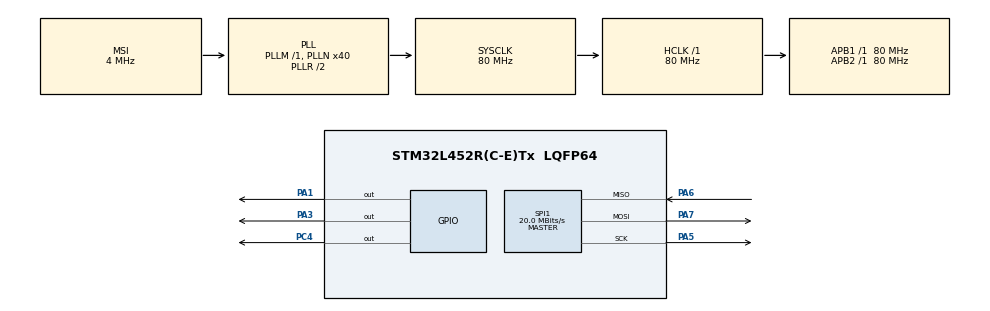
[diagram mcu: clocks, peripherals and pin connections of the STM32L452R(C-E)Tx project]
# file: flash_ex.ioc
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Mcu.Family=STM32L4
Mcu.Name=STM32L452R(C-E)Tx
Mcu.Package=LQFP64
NVIC.PriorityGroup=NVIC_PRIORITYGROUP_4
NVIC.SPI1_IRQn=true\:0\:0\:false\:false\:true\:true\:true
PA1.Signal=GPIO_Output
PA13\ (JTMS/SWDIO).Mode=Serial_Wire
PA13\ (JTMS/SWDIO).Signal=SYS_JTMS-SWDIO
PA14\ (JTCK/SWCLK).Mode=Serial_Wire
PA14\ (JTCK/SWCLK).Signal=SYS_JTCK-SWCLK
PA3.PinState=GPIO_PIN_SET
PA3.Signal=GPIO_Output
PA5.Mode=Full_Duplex_Master
PA5.Signal=SPI1_SCK
PA6.Mode=Full_Duplex_Master
PA6.Signal=SPI1_MISO
PA7.Mode=Full_Duplex_Master
PA7.Signal=SPI1_MOSI
PC4.PinState=GPIO_PIN_SET
PC4.Signal=GPIO_Output
ProjectManager.HeapSize=0x200
ProjectManager.StackSize=0x400
ProjectManager.TargetToolchain=STM32CubeIDE
RCC.ADCFreq_Value=16000000
RCC.AHBFreq_Value=80000000
RCC.APB1Freq_Value=80000000
RCC.APB1TimFreq_Value=80000000
RCC.APB2Freq_Value=80000000
RCC.APB2TimFreq_Value=80000000
RCC.CortexFreq_Value=80000000
RCC.HCLKFreq_Value=80000000
RCC.HSE_VALUE=8000000
RCC.HSI48_VALUE=48000000
RCC.HSI_VALUE=16000000
RCC.LSE_VALUE=32768
RCC.MSI_VALUE=4000000
RCC.PLLN=40
RCC.SYSCLKFreq_VALUE=80000000
RCC.SYSCLKSource=RCC_SYSCLKSOURCE_PLLCLK
RCC.USBFreq_Value=16000000
RCC.VCOOutputFreq_Value=160000000
SPI1.BaudRatePrescaler=SPI_BAUDRATEPRESCALER_4
SPI1.CalculateBaudRate=20.0 MBits/s
SPI1.DataSize=SPI_DATASIZE_8BIT
SPI1.Direction=SPI_DIRECTION_2LINES
SPI1.Mode=SPI_MODE_MASTER
SPI1.VirtualType=VM_MASTER
board=custom

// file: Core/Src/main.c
/* USER CODE BEGIN Header */
/**
  ******************************************************************************
  * @file           : main.c
  * @brief          : Main program body
  ******************************************************************************
  * @attention
  *
  * <h2><center>&copy; Copyright (c) 2021 STMicroelectronics.
  * All rights reserved.</center></h2>
  *
  * This software component is licensed by ST under BSD 3-Clause license,
  * the "License"; You may not use this file except in compliance with the
  * License. You may obtain a copy of the License at:
  *                        opensource.org/licenses/BSD-3-Clause
  *
  ******************************************************************************
  */
/* USER CODE END Header */
#include "main.h"

/* USER CODE BEGIN Includes */
#include "EN25QH.h"
/* USER CODE END Includes */

/* USER CODE BEGIN PTD */
typedef enum {
	FAILED = 0,
	PASSED = !FAILED
} TestStatus;
/* USER CODE END PTD */

/* USER CODE BEGIN PD */
#define  FLASH_WRITE_ADDRESS      0x800001
#define  FLASH_READ_ADDRESS       FLASH_WRITE_ADDRESS
#define  FLASH_SECTOR_TO_ERASE    FLASH_WRITE_ADDRESS

#define  BufferSize (countof(Tx_Buffer)-1)
/* USER CODE END PD */

/* USER CODE BEGIN PM */
#define countof(a) (sizeof(a) / sizeof(*(a)))
/* USER CODE END PM */

SPI_HandleTypeDef hspi1;

/* USER CODE BEGIN PV */
uint8_t Tx_Buffer[] = {0x01, 0x02, 0x03, 0x04, 0x05, 0x06, 0x07};
uint8_t  Rx_Buffer[BufferSize];
uint8_t Index = 0x0;
volatile TestStatus TransferStatus1 = FAILED, TransferStatus2 = PASSED;
uint32_t device_id = 0;
/* USER CODE END PV */

void SystemClock_Config(void);
static void MX_GPIO_Init(void);
static void MX_SPI1_Init(void);
/* USER CODE BEGIN PFP */
TestStatus Buffercmp(uint8_t* pBuffer1, uint8_t* pBuffer2, uint16_t BufferLength);
/* USER CODE END PFP */

int main(void)
{

  /* MCU Configuration--------------------------------------------------------*/

  /* Reset of all peripherals, Initializes the Flash interface and the Systick. */
  HAL_Init();

  /* Configure the system clock */
  SystemClock_Config();

  /* Initialize all configured peripherals */
  MX_GPIO_Init();
  MX_SPI1_Init();
  /* USER CODE BEGIN 2 */
  HAL_GPIO_WritePin(GPIOA, GPIO_PIN_1, GPIO_PIN_SET);

  device_id = Flash_EN25QH_Connect();
  /* Check the SPI Flash ID */
  if (device_id == FLASH_EN25QH_ID)
  {
    /* OK: Turn on */
	  HAL_GPIO_WritePin(GPIOA, GPIO_PIN_3, GPIO_PIN_RESET);

    /* Perform a write in the Flash followed by a read of the written data */
    /* Erase SPI FLASH Sector to write on */
	  Flash_EN25QH_EraseSector(FLASH_SECTOR_TO_ERASE);

    /* Write Tx_Buffer data to SPI FLASH memory */
	  Flash_EN25QH_WriteBuffer(Tx_Buffer, FLASH_WRITE_ADDRESS, BufferSize);

    /* Read data from SPI FLASH memory */
	  Flash_EN25QH_ReadBuffer(Rx_Buffer, FLASH_READ_ADDRESS, BufferSize);

    /* Check the correctness of written dada */
    TransferStatus1 = Buffercmp(Tx_Buffer, Rx_Buffer, BufferSize);
    /* TransferStatus1 = PASSED, if the transmitted and received data by SPI1
       are the same */
    /* TransferStatus1 = FAILED, if the transmitted and received data by SPI1
       are different */

    /* Perform an erase in the Flash followed by a read of the written data */
    /* Erase SPI FLASH Sector to write on */
    Flash_EN25QH_EraseSector(FLASH_SECTOR_TO_ERASE);

    /* Read data from SPI FLASH memory */
    Flash_EN25QH_ReadBuffer(Rx_Buffer, FLASH_READ_ADDRESS, BufferSize);

    /* Check the correctness of erasing operation dada */
    for (Index = 0; Index < BufferSize; Index++)
    {
      if (Rx_Buffer[Index] != 0xFF)
      {
        TransferStatus2 = FAILED;
      }
    }
    /* TransferStatus2 = PASSED, if the specified sector part is erased */
    /* TransferStatus2 = FAILED, if the specified sector part is not well erased */
  }

  /* USER CODE END 2 */

  /* Infinite loop */
  while (1)
  {

    /* USER CODE BEGIN 3 */

//	  HAL_GPIO_TogglePin(GPIOA, GPIO_PIN_3);
//	  HAL_Delay(1000);

  }
  /* USER CODE END 3 */
}

void SystemClock_Config(void)
{
  RCC_OscInitTypeDef RCC_OscInitStruct = {0};
  RCC_ClkInitTypeDef RCC_ClkInitStruct = {0};

  /** Initializes the RCC Oscillators according to the specified parameters
  * in the RCC_OscInitTypeDef structure.
  */
  RCC_OscInitStruct.OscillatorType = RCC_OSCILLATORTYPE_MSI;
  RCC_OscInitStruct.MSIState = RCC_MSI_ON;
  RCC_OscInitStruct.MSICalibrationValue = 0;
  RCC_OscInitStruct.MSIClockRange = RCC_MSIRANGE_6;
  RCC_OscInitStruct.PLL.PLLState = RCC_PLL_ON;
  RCC_OscInitStruct.PLL.PLLSource = RCC_PLLSOURCE_MSI;
  RCC_OscInitStruct.PLL.PLLM = 1;
  RCC_OscInitStruct.PLL.PLLN = 40;
  RCC_OscInitStruct.PLL.PLLP = RCC_PLLP_DIV7;
  RCC_OscInitStruct.PLL.PLLQ = RCC_PLLQ_DIV2;
  RCC_OscInitStruct.PLL.PLLR = RCC_PLLR_DIV2;
  if (HAL_RCC_OscConfig(&RCC_OscInitStruct) != HAL_OK)
  {
    Error_Handler();
  }
  /** Initializes the CPU, AHB and APB buses clocks
  */
  RCC_ClkInitStruct.ClockType = RCC_CLOCKTYPE_HCLK|RCC_CLOCKTYPE_SYSCLK
                              |RCC_CLOCKTYPE_PCLK1|RCC_CLOCKTYPE_PCLK2;
  RCC_ClkInitStruct.SYSCLKSource = RCC_SYSCLKSOURCE_PLLCLK;
  RCC_ClkInitStruct.AHBCLKDivider = RCC_SYSCLK_DIV1;
  RCC_ClkInitStruct.APB1CLKDivider = RCC_HCLK_DIV1;
  RCC_ClkInitStruct.APB2CLKDivider = RCC_HCLK_DIV1;

  if (HAL_RCC_ClockConfig(&RCC_ClkInitStruct, FLASH_LATENCY_4) != HAL_OK)
  {
    Error_Handler();
  }
  /** Configure the main internal regulator output voltage
  */
  if (HAL_PWREx_ControlVoltageScaling(PWR_REGULATOR_VOLTAGE_SCALE1) != HAL_OK)
  {
    Error_Handler();
  }
}

static void MX_SPI1_Init(void)
{

  /* SPI1 parameter configuration*/
  hspi1.Instance = SPI1;
  hspi1.Init.Mode = SPI_MODE_MASTER;
  hspi1.Init.Direction = SPI_DIRECTION_2LINES;
  hspi1.Init.DataSize = SPI_DATASIZE_8BIT;
  hspi1.Init.CLKPolarity = SPI_POLARITY_LOW;
  hspi1.Init.CLKPhase = SPI_PHASE_1EDGE;
  hspi1.Init.NSS = SPI_NSS_SOFT;
  hspi1.Init.BaudRatePrescaler = SPI_BAUDRATEPRESCALER_4;
  hspi1.Init.FirstBit = SPI_FIRSTBIT_MSB;
  hspi1.Init.TIMode = SPI_TIMODE_DISABLE;
  hspi1.Init.CRCCalculation = SPI_CRCCALCULATION_DISABLE;
  hspi1.Init.CRCPolynomial = 7;
  hspi1.Init.CRCLength = SPI_CRC_LENGTH_DATASIZE;
  hspi1.Init.NSSPMode = SPI_NSS_PULSE_ENABLE;
  if (HAL_SPI_Init(&hspi1) != HAL_OK)
  {
    Error_Handler();
  }

}

static void MX_GPIO_Init(void)
{
  GPIO_InitTypeDef GPIO_InitStruct = {0};

  /* GPIO Ports Clock Enable */
  __HAL_RCC_GPIOA_CLK_ENABLE();
  __HAL_RCC_GPIOC_CLK_ENABLE();

  /*Configure GPIO pin Output Level */
  HAL_GPIO_WritePin(GPIOA, GPIO_PIN_1, GPIO_PIN_RESET);

  /*Configure GPIO pin Output Level */
  HAL_GPIO_WritePin(GPIOA, GPIO_PIN_3, GPIO_PIN_SET);

  /*Configure GPIO pin Output Level */
  HAL_GPIO_WritePin(GPIOC, GPIO_PIN_4, GPIO_PIN_SET);

  /*Configure GPIO pins : PA1 PA3 */
  GPIO_InitStruct.Pin = GPIO_PIN_1|GPIO_PIN_3;
  GPIO_InitStruct.Mode = GPIO_MODE_OUTPUT_PP;
  GPIO_InitStruct.Pull = GPIO_NOPULL;
  GPIO_InitStruct.Speed = GPIO_SPEED_FREQ_LOW;
  HAL_GPIO_Init(GPIOA, &GPIO_InitStruct);

  /*Configure GPIO pin : PC4 */
  GPIO_InitStruct.Pin = GPIO_PIN_4;
  GPIO_InitStruct.Mode = GPIO_MODE_OUTPUT_PP;
  GPIO_InitStruct.Pull = GPIO_NOPULL;
  GPIO_InitStruct.Speed = GPIO_SPEED_FREQ_LOW;
  HAL_GPIO_Init(GPIOC, &GPIO_InitStruct);

}

/* USER CODE BEGIN 4 */
/**
  * @brief  Compares two buffers.
  * @param  pBuffer1, pBuffer2: buffers to be compared.
  * @param  BufferLength: buffer's length
  * @retval PASSED: pBuffer1 identical to pBuffer2
  *         FAILED: pBuffer1 differs from pBuffer2
  */
TestStatus Buffercmp(uint8_t* pBuffer1, uint8_t* pBuffer2, uint16_t BufferLength)
{
  while (BufferLength--)
  {
    if (*pBuffer1 != *pBuffer2)
    {
      return FAILED;
    }

    pBuffer1++;
    pBuffer2++;
  }

  return PASSED;
}
/* USER CODE END 4 */

void Error_Handler(void)
{
}

/************************ (C) COPYRIGHT STMicroelectronics *****END OF FILE****/
